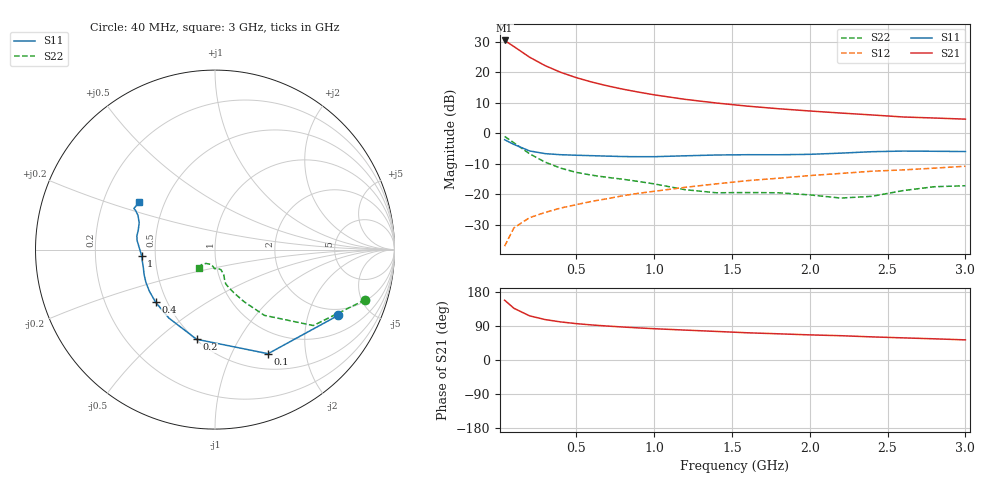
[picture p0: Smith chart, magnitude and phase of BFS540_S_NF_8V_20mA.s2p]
! Filename:  BFS540I.S2P  Version:  4.0
! Philips part #: BFS540  Date: Jun 1994
! Bias condition: Vce=8V, Ic=20mA
#  MHz  S  MA  R  50
! Freq  S11  S21  S12  S22  !GUM [dB]
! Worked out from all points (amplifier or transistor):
!   21 points, 40 MHz to 3 GHz, reference 50 ohm
!   highest |S21| = 30.4 dB at 40 MHz (marker M1)
!   |S21| within 3 dB of that: start of sweep to 128.7 MHz
!   unconditionally stable (mu >= 1): 799.2 MHz to end of sweep
!   at 300 MHz: K = 0.72, MSG = 24.1 dB, |S12| = -26.0 dB
!   at 1 GHz: K = 1.05, MAG = 14.4 dB, |S12| = -19.1 dB
!   at 3 GHz: K = 1.02, MAG = 6.9 dB, |S12| = -10.9 dB
!   lowest NFmin = 1.25 dB at 500 MHz
!   S11 on the Smith chart (normalised r, x): 40 MHz: 1.70, -3.15; 100 MHz: 0.69, -1.39; 200 MHz: 0.50, -0.68; 400 MHz: 0.43, -0.32; 1 GHz: 0.42, -0.04; 3 GHz: 0.36, +0.25
40  0.778 -28.1  32.96 157.8  0.014 75.8  0.882 -18.5
100  0.651 -63.0  26.16 136.4  0.028 62.1  0.692 -37.7
200  0.51 -101.6  17.55 116.6  0.041 55.6  0.458 -53.1
300  0.46 -124.0  12.75 106.7  0.05 56.0  0.334 -60.7
400  0.442 -138.4  9.905 100.5  0.059 57.8  0.266 -66.1
500  0.433 -147.6  8.105 96.0  0.067 59.9  0.227 -69.9
600  0.426 -154.6  6.857 92.5  0.076 61.7  0.204 -72.2
700  0.419 -160.5  5.945 89.6  0.084 63.4  0.188 -72.9
800  0.412 -165.5  5.243 87.0  0.094 64.7  0.175 -72.3
900  0.41 -170.4  4.693 84.7  0.103 65.6  0.161 -71.5
1000  0.41 -175.0  4.238 82.6  0.111 66.3  0.147 -71.0
1200  0.424 177.8  3.569 78.9  0.129 67.8  0.118 -73.3
1400  0.437 173.4  3.11 75.4  0.147 68.7  0.105 -81.6
1600  0.442 170.0  2.763 71.8  0.166 68.2  0.106 -90.4
1800  0.441 165.8  2.505 69.1  0.182 68.7  0.105 -93.1
2000  0.448 160.6  2.301 66.3  0.201 68.7  0.097 -95.1
2200  0.469 156.1  2.129 64.1  0.218 69.0  0.086 -105.4
2400  0.495 153.6  1.981 61.0  0.237 68.6  0.092 -123.3
2600  0.507 153.1  1.835 58.4  0.249 67.6  0.114 -132.2
2800  0.503 151.5  1.765 55.9  0.266 67.5  0.132 -130.8
3000  0.498 147.7  1.691 53.1  0.286 66.7  0.137 -130.0
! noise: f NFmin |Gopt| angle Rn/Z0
500  1.25  0.156  64  0.18
900  1.5  0.206  121  0.17
2000  2.2  0.413  -167  0.12
